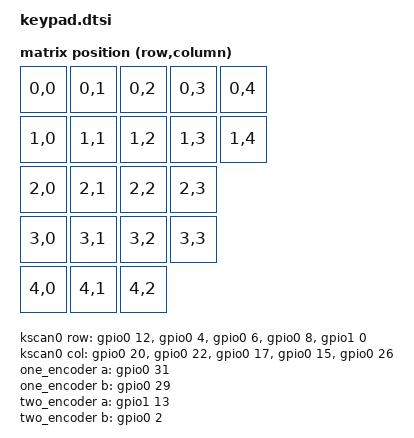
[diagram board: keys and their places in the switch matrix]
/*
 * Copyright (c) 2021 The ZMK Contributors
 *
 * SPDX-License-Identifier: MIT
 */

#include <dt-bindings/zmk/matrix_transform.h>
#include <dt-bindings/led/led.h>

/ {
    chosen {
        zmk,kscan = &kscan0;
        zmk,matrix_transform = &default_transform;
        zmk,underglow = &led_strip;
    };

    default_transform: keymap_transform_0 {
        compatible = "zmk,matrix-transform";
        columns = <5>;
        rows = <4>;
        map = <
            RC(0,0) RC(0,1) RC(0,2) RC(0,3) RC(0,4) 
            RC(1,0) RC(1,1) RC(1,2) RC(1,3) RC(1,4) 
            RC(2,0) RC(2,1) RC(2,2) RC(2,3) 
            RC(3,0) RC(3,1) RC(3,2) RC(3,3)
            RC(4,0) RC(4,1) RC(4,2)
        >;
    };

    kscan0: kscan {
        compatible = "zmk,kscan-gpio-matrix";

        diode-direction = "col2row";
		col-gpios
			= <&gpio0 20 GPIO_ACTIVE_HIGH>
			, <&gpio0 22 GPIO_ACTIVE_HIGH>
			, <&gpio0 17 GPIO_ACTIVE_HIGH>
			, <&gpio0 15 GPIO_ACTIVE_HIGH>
      , <&gpio0 26 GPIO_ACTIVE_HIGH>
			;
		row-gpios
			= <&gpio0 12 (GPIO_ACTIVE_HIGH | GPIO_PULL_DOWN)>
			, <&gpio0 4 (GPIO_ACTIVE_HIGH | GPIO_PULL_DOWN)>
			, <&gpio0 6 (GPIO_ACTIVE_HIGH | GPIO_PULL_DOWN)>
			, <&gpio0 8 (GPIO_ACTIVE_HIGH | GPIO_PULL_DOWN)>
			, <&gpio1 0 (GPIO_ACTIVE_HIGH | GPIO_PULL_DOWN)>
			;

    };

    one_encoder: encoder_one {
        compatible = "alps,ec11";
        a-gpios = <&gpio0 31 (GPIO_ACTIVE_HIGH | GPIO_PULL_UP)>;
        b-gpios = <&gpio0 29 (GPIO_ACTIVE_HIGH | GPIO_PULL_UP)>;
        steps = <80>;
        status = "disabled";
    };

    two_encoder: encoder_two {
        compatible = "alps,ec11";
        a-gpios = <&gpio1 13 (GPIO_ACTIVE_HIGH | GPIO_PULL_UP)>;
        b-gpios = <&gpio0 2 (GPIO_ACTIVE_HIGH | GPIO_PULL_UP)>;
        steps = <80>;
        status = "disabled";
    };

    three_encoder: encoder_three {
        compatible = "alps,ec11";
        a-gpios = <&gpio0 28 (GPIO_ACTIVE_HIGH | GPIO_PULL_UP)>;
        b-gpios = <&gpio0 3 (GPIO_ACTIVE_HIGH | GPIO_PULL_UP)>;
        steps = <80>;
        status = "disabled";
    };

    sensors: sensors {
        compatible = "zmk,keymap-sensors";
        sensors = <&one_encoder &two_encoder &three_encoder>;
        triggers-per-rotation = <20>;
};


    ext-power {
        compatible = "zmk,ext-power-generic";
        label = "EXT_POWER";
        control-gpios = <&gpio1 9 GPIO_ACTIVE_HIGH>;
        init-delay-ms = <50>;
    };

     vbatt: vbatt {
        compatible = "zmk,battery-nrf-vddh";
    };

};

&pinctrl {
   
    spi3_default: spi3_default {
        group1 {
            psels = <NRF_PSEL(SPIM_MOSI, 0, 7)>; // WS2812_VEXT_DATA
        };
    };

    spi3_sleep: spi3_sleep {
        group1 {
            psels = <NRF_PSEL(SPIM_MOSI, 0, 7)>;
            low-power-enable;
        };
    };
};

&uart0 {
	status = "disabled";
};

&spi3 {
	compatible = "nordic,nrf-spim";
	status = "okay";

	pinctrl-0 = <&spi3_default>;
	pinctrl-1 = <&spi3_sleep>;
	pinctrl-names = "default", "sleep";


	led-strip: ws2812@0 {
		compatible = "worldsemi,ws2812-spi";
		label = "LED-STRIP";

		/* SPI */
		reg = <0>; /* ignored, but necessary for SPI bindings */
		spi-max-frequency = <4000000>;

		/* WS2812 */
		chain-length = <17>; /* There are per-key RGB, but the first 6 are underglow */
		spi-one-frame = <0x70>;
		spi-zero-frame = <0x40>;
		color-mapping = <LED_COLOR_ID_GREEN LED_COLOR_ID_RED LED_COLOR_ID_BLUE>;
	};
};
/ {
    led_remap: led_remap {
        compatible = "zmk,led-strip-remap";
        label = "LED_REMAP";
        chain-length = <17>; // 必须与物理LED数量一致
        led_strip = <&led_strip>;
        
        // 像素重映射表（根据键盘布局调整）
        map = <0 1 2 3 4 5 6 7 8 9 10 11 12 13 14 15 16>;
        
        // 切层灯配置
        layer_indicator: layer_indicator {
            label = "LAYER_INDICATOR";
            led_indexes = <16>; // 使用第3个物理LED作为层指示灯
            
            // 各层颜色配置（RGB格式）
            layer_0_color = [FF 00 00]; // 红色
            layer_1_color = [FF FF 00]; // 黄色
            layer_2_color = [00 00 FF]; // 蓝色
            layer_3_color = [00 FF 00]; // 绿色
        };
        
    };
};
/ {
    behaviors {
        disable_layer_led: disable_layer_led {
            compatible = "zmk,behavior-custom";
            label = "DISABLE_LAYER_LED";
            #binding-cells = <0>;
        };
    };
};
